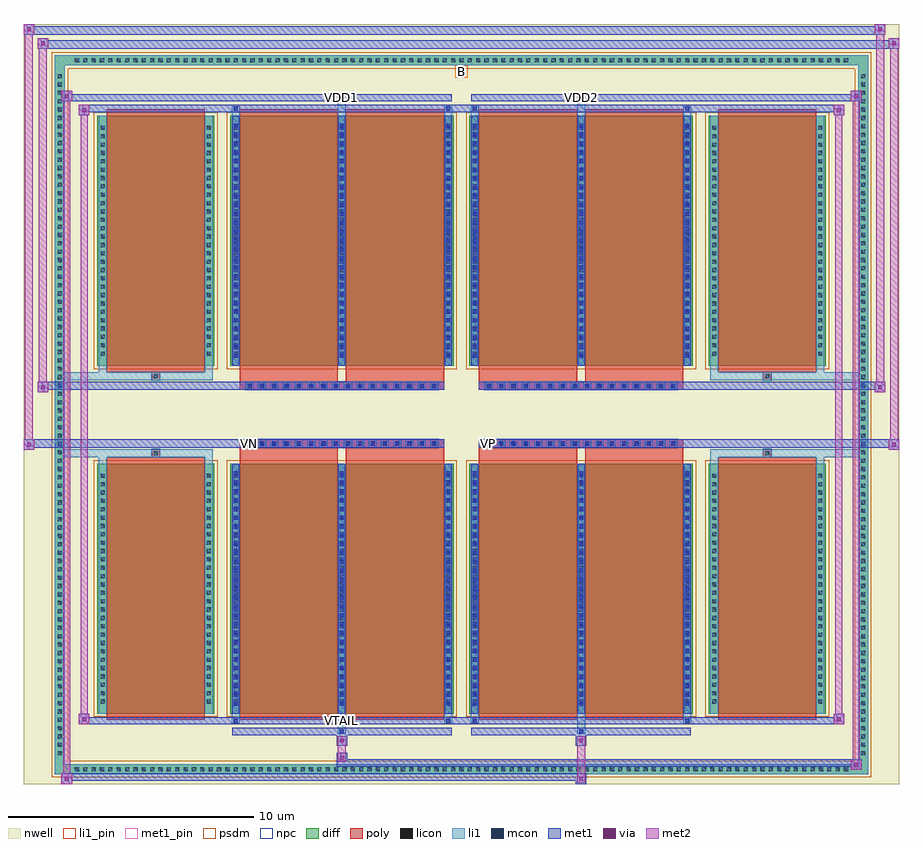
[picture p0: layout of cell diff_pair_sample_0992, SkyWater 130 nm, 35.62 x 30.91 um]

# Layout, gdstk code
import gdstk
lib = gdstk.Library(unit=1e-6, precision=5e-09)
def R(c, l, rs):  # rectangles x0, y0, x1, y1
    for r in rs: c.add(gdstk.rectangle(r[:2], r[2:], *l))
def A(c, l, x, y, w, h, nx, ny, dx, dy):  # array of equal rectangles
    R(c, l, [(x+i*dx, y+j*dy, x+i*dx+w, y+j*dy+h) for i in range(nx) for j in range(ny)])
def P(c, l, *ps):  # polygons
    for p in ps: c.add(gdstk.Polygon(p, *l))
nwell = (64, 20)
diff = (65, 20)
poly = (66, 20)
licon = (66, 44)
li1_pin = (67, 16)
li1 = (67, 20)
mcon = (67, 44)
met1_pin = (68, 16)
met1 = (68, 20)
via = (68, 44)
met2 = (69, 20)
psdm = (94, 20)
npc = (95, 20)

diff_pair_sample_0992 = lib.new_cell('diff_pair_sample_0992')
R(diff_pair_sample_0992, nwell, [(-17.81,-15.02,17.81,15.89), (-15.13,-13.21,-0.01,-0.805), (0.01,-13.21,15.13,-0.805), (-15.13,0.805,-0.01,13.21), (0.01,0.805,15.13,13.21)])
A(diff_pair_sample_0992, diff, -15.845, -14.62, 0.41, 0.41, 93, 2, 0.34, 28.83)
A(diff_pair_sample_0992, diff, -16.54, -13.975, 0.41, 0.41, 1, 82, 0, 0.34)
A(diff_pair_sample_0992, diff, 16.13, -13.975, 0.41, 0.41, 1, 82, 0, 0.34)
R(diff_pair_sample_0992, diff, [(-15.845,-14.62,15.845,-14.21), (-16.54,-13.975,-16.13,13.975), (16.13,-13.975,16.54,13.975), (-14.82,-12.165,-10.05,-1.985), (-9.41,-12.165,-0.32,-1.985), (0.32,-12.165,9.41,-1.985), (10.05,-12.165,14.82,-1.985), (-14.82,1.985,-10.05,12.165), (-9.41,1.985,-0.32,12.165), (0.32,1.985,9.41,12.165), (10.05,1.985,14.82,12.165), (-15.845,14.21,15.845,14.62)])
P(diff_pair_sample_0992, diff, [(16.54,14.62),(-16.54,14.62),(-16.54,-14.21),(-16.13,-14.21),(-16.13,14.21),(16.13,14.21),(16.13,-14.21),(-16.13,-14.21),(-16.54,-14.21),(-16.54,-14.62),(16.54,-14.62)])
A(diff_pair_sample_0992, poly, -8.78, -1.335, 0.33, 0.33, 16, 2, 0.5, 2.34)
A(diff_pair_sample_0992, poly, 0.95, -1.335, 0.33, 0.33, 16, 2, 0.5, 2.34)
R(diff_pair_sample_0992, poly, [(-14.43,-12.415,-10.44,-1.735), (-9.02,-12.415,-5.03,-1.735), (-4.7,-12.415,-0.71,-1.735), (0.71,-12.415,4.7,-1.735), (5.03,-12.415,9.02,-1.735), (10.44,-12.415,14.43,-1.735), (-12.6,-1.735,-12.27,-1.405), (-12.6,-1.735,-12.27,-1.405), (-9.02,-1.735,-5.03,-1.335), (-4.7,-1.735,-0.71,-1.335), (0.71,-1.735,4.7,-1.335), (5.03,-1.735,9.02,-1.335), (12.27,-1.735,12.6,-1.405), (12.27,-1.735,12.6,-1.405), (-9.02,-1.335,-0.71,-1.005), (0.71,-1.335,9.02,-1.005), (-9.02,1.005,-0.71,1.335), (0.71,1.005,9.02,1.335), (-9.02,1.335,-5.03,1.735), (-4.7,1.335,-0.71,1.735), (0.71,1.335,4.7,1.735), (5.03,1.335,9.02,1.735), (-12.6,1.405,-12.27,1.735), (-12.6,1.405,-12.27,1.735), (12.27,1.405,12.6,1.735), (12.27,1.405,12.6,1.735), (-14.43,1.735,-10.44,12.415), (-9.02,1.735,-5.03,12.415), (-4.7,1.735,-0.71,12.415), (0.71,1.735,4.7,12.415), (5.03,1.735,9.02,12.415), (10.44,1.735,14.43,12.415)])
A(diff_pair_sample_0992, licon, -15.725, -14.5, 0.17, 0.17, 93, 2, 0.34, 28.83)
A(diff_pair_sample_0992, licon, -16.42, -13.855, 0.17, 0.17, 1, 82, 0, 0.34)
A(diff_pair_sample_0992, licon, 16.25, -13.855, 0.17, 0.17, 1, 82, 0, 0.34)
A(diff_pair_sample_0992, licon, -14.68, -11.75, 0.17, 0.17, 1, 28, 0, 0.34)
A(diff_pair_sample_0992, licon, -10.36, -11.75, 0.17, 0.17, 1, 28, 0, 0.34)
A(diff_pair_sample_0992, licon, -9.27, -11.75, 0.17, 0.17, 3, 28, 4.32, 0.34)
A(diff_pair_sample_0992, licon, 0.46, -11.75, 0.17, 0.17, 3, 28, 4.32, 0.34)
A(diff_pair_sample_0992, licon, 10.19, -11.75, 0.17, 0.17, 1, 28, 0, 0.34)
A(diff_pair_sample_0992, licon, 14.51, -11.75, 0.17, 0.17, 1, 28, 0, 0.34)
A(diff_pair_sample_0992, licon, -8.7, -1.255, 0.17, 0.17, 16, 2, 0.5, 2.34)
A(diff_pair_sample_0992, licon, 1.03, -1.255, 0.17, 0.17, 16, 2, 0.5, 2.34)
A(diff_pair_sample_0992, licon, -14.68, 2.4, 0.17, 0.17, 1, 28, 0, 0.34)
A(diff_pair_sample_0992, licon, -10.36, 2.4, 0.17, 0.17, 1, 28, 0, 0.34)
A(diff_pair_sample_0992, licon, -9.27, 2.4, 0.17, 0.17, 3, 28, 4.32, 0.34)
A(diff_pair_sample_0992, licon, 0.46, 2.4, 0.17, 0.17, 3, 28, 4.32, 0.34)
A(diff_pair_sample_0992, licon, 10.19, 2.4, 0.17, 0.17, 1, 28, 0, 0.34)
A(diff_pair_sample_0992, licon, 14.51, 2.4, 0.17, 0.17, 1, 28, 0, 0.34)
R(diff_pair_sample_0992, licon, [(-12.52,-1.655,-12.35,-1.485), (12.35,-1.655,12.52,-1.485), (-12.52,1.485,-12.35,1.655), (12.35,1.485,12.52,1.655)])
R(diff_pair_sample_0992, li1_pin, [(-0.25,13.71,0.25,14.21)])
A(diff_pair_sample_0992, li1, -15.805, -14.58, 0.33, 0.33, 93, 2, 0.34, 28.83)
A(diff_pair_sample_0992, li1, -16.5, -13.935, 0.33, 0.33, 1, 82, 0, 0.34)
A(diff_pair_sample_0992, li1, 16.17, -13.935, 0.33, 0.33, 1, 82, 0, 0.34)
A(diff_pair_sample_0992, li1, -9.35, -12.165, 0.33, 10.18, 3, 2, 4.32, 14.15)
A(diff_pair_sample_0992, li1, 0.38, -12.165, 0.33, 10.18, 3, 2, 4.32, 14.15)
A(diff_pair_sample_0992, li1, -9.27, -11.84, 0.17, 0.17, 3, 27, 4.32, 0.36)
A(diff_pair_sample_0992, li1, -9.27, -11.84, 0.17, 9.53, 3, 2, 4.32, 14.15)
A(diff_pair_sample_0992, li1, 0.46, -11.84, 0.17, 0.17, 3, 27, 4.32, 0.36)
A(diff_pair_sample_0992, li1, 0.46, -11.84, 0.17, 9.53, 3, 2, 4.32, 14.15)
A(diff_pair_sample_0992, li1, -14.76, -11.83, 0.33, 0.33, 1, 28, 0, 0.34)
A(diff_pair_sample_0992, li1, -10.44, -11.83, 0.33, 0.33, 1, 28, 0, 0.34)
A(diff_pair_sample_0992, li1, -9.35, -11.83, 0.33, 0.33, 3, 28, 4.32, 0.34)
A(diff_pair_sample_0992, li1, 0.38, -11.83, 0.33, 0.33, 3, 28, 4.32, 0.34)
A(diff_pair_sample_0992, li1, 10.11, -11.83, 0.33, 0.33, 1, 28, 0, 0.34)
A(diff_pair_sample_0992, li1, 14.43, -11.83, 0.33, 0.33, 1, 28, 0, 0.34)
A(diff_pair_sample_0992, li1, -8.78, -1.335, 0.33, 0.33, 16, 2, 0.5, 2.34)
A(diff_pair_sample_0992, li1, 0.95, -1.335, 0.33, 0.33, 16, 2, 0.5, 2.34)
A(diff_pair_sample_0992, li1, -9.27, 2.31, 0.17, 0.17, 3, 27, 4.32, 0.36)
A(diff_pair_sample_0992, li1, 0.46, 2.31, 0.17, 0.17, 3, 27, 4.32, 0.36)
A(diff_pair_sample_0992, li1, -14.76, 2.32, 0.33, 0.33, 1, 28, 0, 0.34)
A(diff_pair_sample_0992, li1, -10.44, 2.32, 0.33, 0.33, 1, 28, 0, 0.34)
A(diff_pair_sample_0992, li1, -9.35, 2.32, 0.33, 0.33, 3, 28, 4.32, 0.34)
A(diff_pair_sample_0992, li1, 0.38, 2.32, 0.33, 0.33, 3, 28, 4.32, 0.34)
A(diff_pair_sample_0992, li1, 10.11, 2.32, 0.33, 0.33, 1, 28, 0, 0.34)
A(diff_pair_sample_0992, li1, 14.43, 2.32, 0.33, 0.33, 1, 28, 0, 0.34)
R(diff_pair_sample_0992, li1, [(-16.54,-14.62,-16.13,-14.21), (-16.54,-14.62,-16.13,-14.21), (-16.13,-14.62,16.13,-14.21), (16.13,-14.62,16.54,-14.21), (16.13,-14.62,16.54,-14.21), (-16.54,-14.21,-16.13,14.21), (16.13,-14.21,16.54,14.21), (-5.03,-12.97,-4.7,-12.165), (-4.95,-12.97,-4.78,-12.8), (4.7,-12.97,5.03,-12.165), (4.78,-12.97,4.95,-12.8), (-9.35,-12.54,-9.02,-12.165), (-9.27,-12.54,-9.1,-12.37), (-0.71,-12.54,-0.38,-12.165), (-0.63,-12.54,-0.46,-12.37), (0.38,-12.54,0.71,-12.165), (0.46,-12.54,0.63,-12.37), (9.02,-12.54,9.35,-12.165), (9.1,-12.54,9.27,-12.37), (-14.76,-12.165,-14.43,-1.985), (-10.44,-12.165,-10.11,-1.985), (10.11,-12.165,10.44,-1.985), (14.43,-12.165,14.76,-1.985), (-14.76,-1.985,-14.43,-1.405), (-10.44,-1.985,-10.11,-1.405), (10.11,-1.985,10.44,-1.405), (14.43,-1.985,14.76,-1.405), (-16.54,-1.735,-12.6,-1.405), (-14.76,-1.735,-12.6,-1.405), (-12.6,-1.735,-12.27,-1.405), (-12.27,-1.735,-10.11,-1.405), (10.11,-1.735,12.27,-1.405), (12.27,-1.735,12.6,-1.405), (12.27,-1.735,16.54,-1.405), (12.6,-1.735,14.76,-1.405), (-16.54,1.405,-12.6,1.735), (-14.76,1.405,-12.6,1.735), (-14.76,1.405,-14.43,1.985), (-12.6,1.405,-12.27,1.735), (-12.27,1.405,-10.11,1.735), (-10.44,1.405,-10.11,1.985), (10.11,1.405,12.27,1.735), (10.11,1.405,10.44,1.985), (12.27,1.405,12.6,1.735), (12.27,1.405,16.54,1.735), (12.6,1.405,14.76,1.735), (14.43,1.405,14.76,1.985), (-14.76,1.985,-14.43,12.165), (-10.44,1.985,-10.11,12.165), (10.11,1.985,10.44,12.165), (14.43,1.985,14.76,12.165), (-9.35,12.165,-9.02,12.54), (-5.03,12.165,-4.7,12.97), (-0.71,12.165,-0.38,12.54), (0.38,12.165,0.71,12.54), (4.7,12.165,5.03,12.97), (9.02,12.165,9.35,12.54), (-9.27,12.37,-9.1,12.54), (-0.63,12.37,-0.46,12.54), (0.46,12.37,0.63,12.54), (9.1,12.37,9.27,12.54), (-4.95,12.8,-4.78,12.97), (4.78,12.8,4.95,12.97), (-16.54,14.21,-16.13,14.62), (-16.54,14.21,-16.13,14.62), (-16.13,14.21,16.13,14.62), (16.13,14.21,16.54,14.62), (16.13,14.21,16.54,14.62)])
A(diff_pair_sample_0992, mcon, -9.27, -11.84, 0.17, 0.17, 3, 27, 4.32, 0.36)
A(diff_pair_sample_0992, mcon, 0.46, -11.84, 0.17, 0.17, 3, 27, 4.32, 0.36)
A(diff_pair_sample_0992, mcon, -8.7, -1.255, 0.17, 0.17, 16, 2, 0.5, 2.34)
A(diff_pair_sample_0992, mcon, 1.03, -1.255, 0.17, 0.17, 16, 2, 0.5, 2.34)
A(diff_pair_sample_0992, mcon, -9.27, 2.31, 0.17, 0.17, 3, 27, 4.32, 0.36)
A(diff_pair_sample_0992, mcon, 0.46, 2.31, 0.17, 0.17, 3, 27, 4.32, 0.36)
R(diff_pair_sample_0992, mcon, [(-4.95,-12.97,-4.78,-12.8), (4.78,-12.97,4.95,-12.8), (-9.27,-12.54,-9.1,-12.37), (-0.63,-12.54,-0.46,-12.37), (0.46,-12.54,0.63,-12.37), (9.1,-12.54,9.27,-12.37), (-9.27,12.37,-9.1,12.54), (-0.63,12.37,-0.46,12.54), (0.46,12.37,0.63,12.54), (9.1,12.37,9.27,12.54), (-4.95,12.8,-4.78,12.97), (4.78,12.8,4.95,12.97)])
R(diff_pair_sample_0992, met1_pin, [(-5,-12.58,-4.73,-12.31), (-8.75,-1.295,-8.48,-1.025), (0.98,-1.295,1.25,-1.025), (-5,12.76,-4.73,13.03), (4.73,12.76,5,13.03)])
A(diff_pair_sample_0992, met1, -9.33, -12.165, 0.29, 10.18, 3, 2, 4.32, 14.15)
A(diff_pair_sample_0992, met1, 0.4, -12.165, 0.29, 10.18, 3, 2, 4.32, 14.15)
A(diff_pair_sample_0992, met1, -9.33, -11.9, 0.29, 0.29, 3, 27, 4.32, 0.36)
A(diff_pair_sample_0992, met1, 0.4, -11.9, 0.29, 0.29, 3, 27, 4.32, 0.36)
A(diff_pair_sample_0992, met1, -8.76, -1.315, 0.29, 0.29, 16, 2, 0.5, 2.34)
A(diff_pair_sample_0992, met1, 0.97, -1.315, 0.29, 0.29, 16, 2, 0.5, 2.34)
A(diff_pair_sample_0992, met1, -9.33, 2.25, 0.29, 0.29, 3, 27, 4.32, 0.36)
A(diff_pair_sample_0992, met1, 0.4, 2.25, 0.29, 0.29, 3, 27, 4.32, 0.36)
R(diff_pair_sample_0992, met1, [(-16.27,-15.02,-15.84,-14.59), (4.65,-15.02,5.08,-14.59), (-16.27,-14.88,5.08,-14.59), (15.84,-14.45,16.27,-14.02), (-5.08,-14.31,16.27,-14.02), (-5.08,-14.17,-4.65,-13.74), (-5.08,-13.46,-4.65,-13.03), (4.65,-13.46,5.08,-13.03), (-9.33,-13.03,-0.4,-12.74), (-5.01,-13.03,-4.72,-12.74), (0.4,-13.03,9.33,-12.74), (4.72,-13.03,5.01,-12.74), (-15.56,-12.6,-15.13,-12.17), (-15.56,-12.6,-9.33,-12.31), (-9.33,-12.6,-9.04,-12.31), (-9.33,-12.6,-0.4,-12.31), (-0.69,-12.6,-0.4,-12.31), (-0.4,-12.6,0.4,-12.31), (0.4,-12.6,0.69,-12.31), (0.4,-12.6,9.33,-12.31), (9.04,-12.6,9.33,-12.31), (9.33,-12.6,15.56,-12.31), (15.13,-12.6,15.56,-12.17), (-17.81,-1.435,-17.38,-1.005), (17.38,-1.435,17.81,-1.005), (-17.81,-1.335,-0.71,-1.005), (-9.02,-1.335,-0.71,-1.005), (0.71,-1.335,9.02,-1.005), (0.71,-1.335,17.81,-1.005), (-17.24,0.905,-16.81,1.335), (16.81,0.905,17.24,1.335), (-17.24,1.005,-9.02,1.335), (-9.02,1.005,-0.71,1.335), (0.71,1.005,9.02,1.335), (9.02,1.005,17.24,1.335), (-15.56,12.17,-15.13,12.6), (15.13,12.17,15.56,12.6), (-15.56,12.31,-9.33,12.6), (-9.33,12.31,-9.04,12.6), (-9.33,12.31,-0.4,12.6), (-0.69,12.31,-0.4,12.6), (-0.4,12.31,0.4,12.6), (0.4,12.31,0.69,12.6), (0.4,12.31,9.33,12.6), (9.04,12.31,9.33,12.6), (9.33,12.31,15.56,12.6), (-16.27,12.74,-15.84,13.17), (-16.27,12.74,-9.33,13.03), (-9.33,12.74,-0.4,13.03), (-5.01,12.74,-4.72,13.03), (0.4,12.74,9.33,13.03), (4.72,12.74,5.01,13.03), (9.33,12.74,16.27,13.03), (15.84,12.74,16.27,13.17), (-17.24,14.89,-16.81,15.32), (-17.24,14.89,-15.13,15.22), (-15.13,14.89,15.13,15.22), (15.13,14.89,17.81,15.22), (17.38,14.89,17.81,15.32), (-17.81,15.46,-17.38,15.89), (-17.81,15.46,-15.13,15.79), (-15.13,15.46,15.13,15.79), (15.13,15.46,17.24,15.79), (16.81,15.46,17.24,15.89)])
R(diff_pair_sample_0992, via, [(-16.13,-14.88,-15.98,-14.73), (4.79,-14.88,4.94,-14.73), (15.98,-14.31,16.13,-14.16), (-4.94,-14.03,-4.79,-13.88), (-4.94,-13.32,-4.79,-13.17), (4.79,-13.32,4.94,-13.17), (-15.42,-12.46,-15.27,-12.31), (15.27,-12.46,15.42,-12.31), (-17.67,-1.295,-17.52,-1.145), (17.52,-1.295,17.67,-1.145), (-17.1,1.045,-16.95,1.195), (16.95,1.045,17.1,1.195), (-15.42,12.31,-15.27,12.46), (15.27,12.31,15.42,12.46), (-16.13,12.88,-15.98,13.03), (15.98,12.88,16.13,13.03), (-17.1,15.03,-16.95,15.18), (17.52,15.03,17.67,15.18), (-17.67,15.6,-17.52,15.75), (16.95,15.6,17.1,15.75)])
R(diff_pair_sample_0992, met2, [(-16.27,-15.02,-15.84,-14.59), (-16.2,-15.02,-15.91,13.17), (-15.91,-15.02,-15.84,-14.59), (-16.22,-14.97,-15.89,-14.64), (4.7,-14.97,5.03,-14.64), (4.7,-14.64,5.03,-13.41), (15.84,-14.45,16.27,-14.02), (15.91,-14.45,16.2,13.17), (16.2,-14.45,16.27,-14.02), (15.89,-14.4,16.22,-14.07), (-5.03,-14.12,-4.7,-13.79), (-5.03,-13.79,-4.7,-13.41), (-5.03,-13.41,-4.7,-13.08), (4.7,-13.41,5.03,-13.08), (-15.56,-12.6,-15.13,-12.17), (-15.49,-12.6,-15.2,12.6), (-15.2,-12.6,-15.13,-12.17), (15.13,-12.6,15.56,-12.17), (15.2,-12.6,15.49,12.6), (15.49,-12.6,15.56,-12.17), (-15.51,-12.55,-15.18,-12.22), (15.18,-12.55,15.51,-12.22), (-17.81,-1.435,-17.38,-1.005), (-17.76,-1.435,-17.43,15.89), (-17.43,-1.435,-17.38,-1.005), (17.38,-1.435,17.81,-1.005), (17.43,-1.435,17.76,15.32), (17.76,-1.435,17.81,-1.005), (-17.76,-1.385,-17.43,-1.055), (17.43,-1.385,17.76,-1.055), (-17.24,0.905,-16.81,1.335), (-17.19,0.905,-16.86,15.32), (-16.86,0.905,-16.81,1.335), (16.81,0.905,17.24,1.335), (16.86,0.905,17.19,15.89), (17.19,0.905,17.24,1.335), (-17.19,0.955,-16.86,1.285), (16.86,0.955,17.19,1.285), (-15.56,12.17,-15.13,12.6), (-15.2,12.17,-15.13,12.6), (15.13,12.17,15.56,12.6), (15.49,12.17,15.56,12.6), (-15.51,12.22,-15.18,12.55), (15.18,12.22,15.51,12.55), (-16.27,12.74,-15.84,13.17), (-15.91,12.74,-15.84,13.17), (15.84,12.74,16.27,13.17), (16.2,12.74,16.27,13.17), (-16.22,12.79,-15.89,13.12), (15.89,12.79,16.22,13.12), (-17.24,14.89,-16.81,15.32), (-16.86,14.89,-16.81,15.32), (17.38,14.89,17.81,15.32), (17.76,14.89,17.81,15.32), (-17.19,14.94,-16.86,15.27), (17.43,14.94,17.76,15.27), (-17.81,15.46,-17.38,15.89), (-17.43,15.46,-17.38,15.89), (16.81,15.46,17.24,15.89), (17.19,15.46,17.24,15.89), (-17.76,15.51,-17.43,15.84), (16.86,15.51,17.19,15.84)])
R(diff_pair_sample_0992, psdm, [(-14.95,-12.295,-9.92,-1.855), (-9.54,-12.295,-0.19,-1.855), (0.19,-12.295,9.54,-1.855), (9.92,-12.295,14.95,-1.855), (-14.95,1.855,-9.92,12.295), (-9.54,1.855,-0.19,12.295), (0.19,1.855,9.54,12.295), (9.92,1.855,14.95,12.295)])
P(diff_pair_sample_0992, psdm, [(16.67,14.75),(-16.67,14.75),(-16.67,-14.08),(-16,-14.08),(-16,14.08),(16,14.08),(16,-14.08),(-16,-14.08),(-16.67,-14.08),(-16.67,-14.75),(16.67,-14.75)])
A(diff_pair_sample_0992, npc, -8.8, -1.355, 0.37, 0.37, 16, 2, 0.5, 2.34)
A(diff_pair_sample_0992, npc, 0.93, -1.355, 0.37, 0.37, 16, 2, 0.5, 2.34)
R(diff_pair_sample_0992, npc, [(-12.62,-1.755,-12.25,-1.385), (12.25,-1.755,12.62,-1.385), (-8.8,-1.355,-7.93,-0.985), (-8.8,-1.355,-7.93,-0.985), (-8.3,-1.355,-7.43,-0.985), (-8.3,-1.355,-7.43,-0.985), (-7.8,-1.355,-6.93,-0.985), (-7.8,-1.355,-6.93,-0.985), (-7.3,-1.355,-6.43,-0.985), (-7.3,-1.355,-6.43,-0.985), (-6.8,-1.355,-5.93,-0.985), (-6.8,-1.355,-5.93,-0.985), (-6.3,-1.355,-5.43,-0.985), (-6.3,-1.355,-5.43,-0.985), (-5.8,-1.355,-4.93,-0.985), (-5.8,-1.355,-4.93,-0.985), (-5.3,-1.355,-4.43,-0.985), (-5.3,-1.355,-4.43,-0.985), (-4.8,-1.355,-3.93,-0.985), (-4.8,-1.355,-3.93,-0.985), (-4.3,-1.355,-3.43,-0.985), (-4.3,-1.355,-3.43,-0.985), (-3.8,-1.355,-2.93,-0.985), (-3.8,-1.355,-2.93,-0.985), (-3.3,-1.355,-2.43,-0.985), (-3.3,-1.355,-2.43,-0.985), (-2.8,-1.355,-1.93,-0.985), (-2.8,-1.355,-1.93,-0.985), (-2.3,-1.355,-1.43,-0.985), (-2.3,-1.355,-1.43,-0.985), (-1.8,-1.355,-0.93,-0.985), (-1.8,-1.355,-0.93,-0.985), (0.93,-1.355,1.8,-0.985), (0.93,-1.355,1.8,-0.985), (1.43,-1.355,2.3,-0.985), (1.43,-1.355,2.3,-0.985), (1.93,-1.355,2.8,-0.985), (1.93,-1.355,2.8,-0.985), (2.43,-1.355,3.3,-0.985), (2.43,-1.355,3.3,-0.985), (2.93,-1.355,3.8,-0.985), (2.93,-1.355,3.8,-0.985), (3.43,-1.355,4.3,-0.985), (3.43,-1.355,4.3,-0.985), (3.93,-1.355,4.8,-0.985), (3.93,-1.355,4.8,-0.985), (4.43,-1.355,5.3,-0.985), (4.43,-1.355,5.3,-0.985), (4.93,-1.355,5.8,-0.985), (4.93,-1.355,5.8,-0.985), (5.43,-1.355,6.3,-0.985), (5.43,-1.355,6.3,-0.985), (5.93,-1.355,6.8,-0.985), (5.93,-1.355,6.8,-0.985), (6.43,-1.355,7.3,-0.985), (6.43,-1.355,7.3,-0.985), (6.93,-1.355,7.8,-0.985), (6.93,-1.355,7.8,-0.985), (7.43,-1.355,8.3,-0.985), (7.43,-1.355,8.3,-0.985), (7.93,-1.355,8.8,-0.985), (7.93,-1.355,8.8,-0.985), (-8.8,0.985,-7.93,1.355), (-8.8,0.985,-7.93,1.355), (-8.3,0.985,-7.43,1.355), (-8.3,0.985,-7.43,1.355), (-7.8,0.985,-6.93,1.355), (-7.8,0.985,-6.93,1.355), (-7.3,0.985,-6.43,1.355), (-7.3,0.985,-6.43,1.355), (-6.8,0.985,-5.93,1.355), (-6.8,0.985,-5.93,1.355), (-6.3,0.985,-5.43,1.355), (-6.3,0.985,-5.43,1.355), (-5.8,0.985,-4.93,1.355), (-5.8,0.985,-4.93,1.355), (-5.3,0.985,-4.43,1.355), (-5.3,0.985,-4.43,1.355), (-4.8,0.985,-3.93,1.355), (-4.8,0.985,-3.93,1.355), (-4.3,0.985,-3.43,1.355), (-4.3,0.985,-3.43,1.355), (-3.8,0.985,-2.93,1.355), (-3.8,0.985,-2.93,1.355), (-3.3,0.985,-2.43,1.355), (-3.3,0.985,-2.43,1.355), (-2.8,0.985,-1.93,1.355), (-2.8,0.985,-1.93,1.355), (-2.3,0.985,-1.43,1.355), (-2.3,0.985,-1.43,1.355), (-1.8,0.985,-0.93,1.355), (-1.8,0.985,-0.93,1.355), (0.93,0.985,1.8,1.355), (0.93,0.985,1.8,1.355), (1.43,0.985,2.3,1.355), (1.43,0.985,2.3,1.355), (1.93,0.985,2.8,1.355), (1.93,0.985,2.8,1.355), (2.43,0.985,3.3,1.355), (2.43,0.985,3.3,1.355), (2.93,0.985,3.8,1.355), (2.93,0.985,3.8,1.355), (3.43,0.985,4.3,1.355), (3.43,0.985,4.3,1.355), (3.93,0.985,4.8,1.355), (3.93,0.985,4.8,1.355), (4.43,0.985,5.3,1.355), (4.43,0.985,5.3,1.355), (4.93,0.985,5.8,1.355), (4.93,0.985,5.8,1.355), (5.43,0.985,6.3,1.355), (5.43,0.985,6.3,1.355), (5.93,0.985,6.8,1.355), (5.93,0.985,6.8,1.355), (6.43,0.985,7.3,1.355), (6.43,0.985,7.3,1.355), (6.93,0.985,7.8,1.355), (6.93,0.985,7.8,1.355), (7.43,0.985,8.3,1.355), (7.43,0.985,8.3,1.355), (7.93,0.985,8.8,1.355), (7.93,0.985,8.8,1.355), (-12.62,1.385,-12.25,1.755), (12.25,1.385,12.62,1.755)])
diff_pair_sample_0992.add(gdstk.Label('VTAIL', (-4.865,-12.445), layer=68, texttype=5))
diff_pair_sample_0992.add(gdstk.Label('VN', (-8.615,-1.16), layer=68, texttype=5))
diff_pair_sample_0992.add(gdstk.Label('VP', (1.115,-1.16), layer=68, texttype=5))
diff_pair_sample_0992.add(gdstk.Label('B', (0,13.96), layer=67, texttype=5))
diff_pair_sample_0992.add(gdstk.Label('VDD2', (4.865,12.895), layer=68, texttype=5))
diff_pair_sample_0992.add(gdstk.Label('VDD1', (-4.865,12.895), layer=68, texttype=5))

lib.write_gds('diff_pair_sample_0992.gds')
